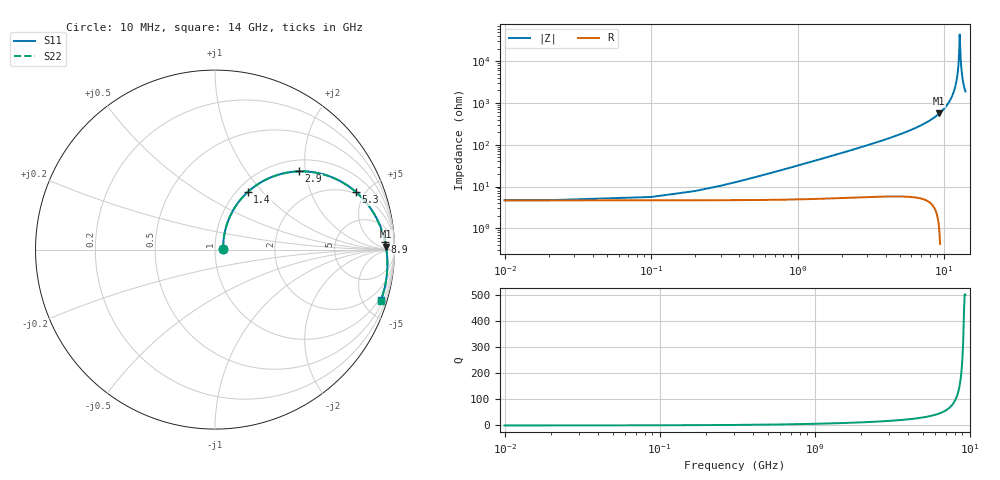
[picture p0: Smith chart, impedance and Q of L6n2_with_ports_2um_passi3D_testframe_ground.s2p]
#  GHZ S DB R 50.0
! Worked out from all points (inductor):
!   142 points, 10 MHz to 14 GHz, reference 50 ohm
!   read as one part in series: L = 4.97 nH near 500 MHz
!   highest Q = 649 at 9.3 GHz (marker M1), where L = 9.61 nH
!   self-resonance near 12.8 GHz
!   S11 on the Smith chart (normalised r, x): 10 MHz: 1.09, +0.01; 1.4 GHz: 1.12, +0.83; 2.9 GHz: 1.25, +1.85; 5.3 GHz: 1.87, +4.29; 8.9 GHz: 21, +19; 14 GHz: 0.76, -6.61
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0.01  -26.97 3.4  -0.40 -0.2  -0.40 -0.2  -26.99 3.8
0.6  -15.41 65.3  -0.57 -10.9  -0.57 -10.9  -15.41 65.3
1.4  -8.65 60.4  -1.19 -24.2  -1.19 -24.2  -8.65 60.3
2.4  -4.95 48.5  -2.36 -38.3  -2.36 -38.3  -4.95 48.4
2.9  -3.87 42.9  -3.06 -44.4  -3.06 -44.4  -3.88 42.9
4.7  -1.80 26.7  -5.88 -61.7  -5.88 -61.7  -1.80 26.6
5.3  -1.43 22.3  -6.90 -66.3  -6.90 -66.3  -1.43 22.3
7.1  -0.77 11.4  -10.22 -77.8  -10.22 -77.8  -0.78 11.4
8.9  -0.46 2.7  -14.25 -87.1  -14.25 -87.1  -0.46 2.6
9.3  -0.42 0.9  -15.33 -89.0  -15.33 -89.0  -0.42 0.9
9.4  -0.41 0.5  -15.62 -89.5  -15.62 -89.5  -0.41 0.5
10.8  -0.31 -5.2  -20.64 -96.0  -20.64 -96.0  -0.32 -5.3
11.7  -0.28 -8.7  -26.01 -100.7  -26.01 -100.7  -0.29 -8.7
12.2  -0.28 -10.5  -31.28 -104.7  -31.28 -104.7  -0.28 -10.6
12.5  -0.27 -11.6  -37.09 -110.0  -37.09 -110.0  -0.28 -11.7
12.6  -0.27 -12.0  -40.32 -114.4  -40.32 -114.4  -0.28 -12.1
12.7  -0.27 -12.4  -45.30 -124.9  -45.30 -124.9  -0.28 -12.4
12.8  -0.27 -12.7  -53.15 -175.7  -53.15 -175.7  -0.28 -12.8
13  -0.27 -13.4  -41.60 91.4  -41.60 91.4  -0.28 -13.5
13.2  -0.28 -14.2  -35.51 83.2  -35.51 83.2  -0.28 -14.2
13.5  -0.28 -15.2  -30.61 79.0  -30.61 79.0  -0.28 -15.3
14  -0.29 -17.0  -25.96 75.4  -25.96 75.4  -0.29 -17.1
